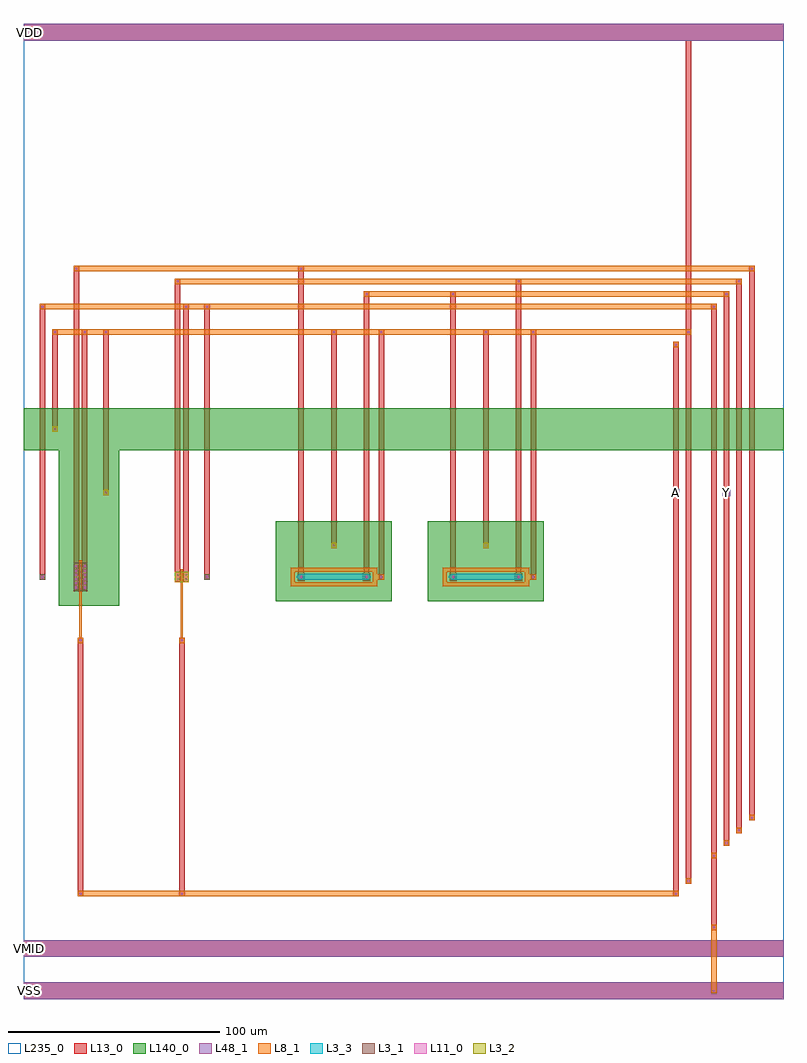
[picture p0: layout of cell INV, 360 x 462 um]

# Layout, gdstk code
import gdstk
lib = gdstk.Library(unit=1e-6, precision=1e-09)
def R(c, l, rs):  # rectangles x0, y0, x1, y1
    for r in rs: c.add(gdstk.rectangle(r[:2], r[2:], *l))
def A(c, l, x, y, w, h, nx, ny, dx, dy):  # array of equal rectangles
    R(c, l, [(x+i*dx, y+j*dy, x+i*dx+w, y+j*dy+h) for i in range(nx) for j in range(ny)])
def P(c, l, *ps):  # polygons
    for p in ps: c.add(gdstk.Polygon(p, *l))
L3_1 = (3, 1)
L3_2 = (3, 2)
L3_3 = (3, 3)
L8_1 = (8, 1)
L11_0 = (11, 0)
L13_0 = (13, 0)
L48_1 = (48, 1)
L140_0 = (140, 0)
L235_0 = (235, 0)

fet_p__inv = lib.new_cell('fet_p__INV')
R(fet_p__inv, L3_1, [(-3.3,-6.75,3.3,6.75)])
A(fet_p__inv, L11_0, -2.5, -5.5, 1, 1, 1, 6, 0, 2)
A(fet_p__inv, L11_0, 1.5, -5.5, 1, 1, 1, 6, 0, 2)
R(fet_p__inv, L13_0, [(-3.3,-6.3,-0.7,6.3), (0.7,-6.3,3.3,6.3)])
fet_p__inv.add(gdstk.FlexPath([(0,-7.95),(0,7.95)], 1, ends="flush", simple_path=True, layer=8, datatype=1))  # L8_1

cont_g__inv = lib.new_cell('cont_g__INV')
R(cont_g__inv, L8_1, [(-1.3,-1.3,1.3,1.3)])
R(cont_g__inv, L11_0, [(-0.5,-0.5,0.5,0.5)])
R(cont_g__inv, L13_0, [(-1.3,-1.3,1.3,1.3)])

cont_n__inv = lib.new_cell('cont_n__INV')
R(cont_n__inv, L3_2, [(-1.3,-1.3,1.3,1.3)])
R(cont_n__inv, L11_0, [(-0.5,-0.5,0.5,0.5)])
R(cont_n__inv, L13_0, [(-1.3,-1.3,1.3,1.3)])

fet_n__inv = lib.new_cell('fet_n__INV')
R(fet_n__inv, L3_2, [(-3.3,-2.5,3.3,2.5)])
R(fet_n__inv, L11_0, [(-2.5,-1.5,-1.5,-0.5), (1.5,-1.5,2.5,-0.5), (-2.5,0.5,-1.5,1.5), (1.5,0.5,2.5,1.5)])
R(fet_n__inv, L13_0, [(-3.3,-2.3,-0.7,2.3), (0.7,-2.3,3.3,2.3)])
fet_n__inv.add(gdstk.FlexPath([(0,-3.7),(0,3.7)], 1, ends="flush", simple_path=True, layer=8, datatype=1))  # L8_1

cont_p__inv = lib.new_cell('cont_p__INV')
R(cont_p__inv, L3_1, [(-1.3,-1.3,1.3,1.3)])
R(cont_p__inv, L11_0, [(-0.5,-0.5,0.5,0.5)])
R(cont_p__inv, L13_0, [(-1.3,-1.3,1.3,1.3)])

res_diff__inv = lib.new_cell('res_diff__INV')
P(res_diff__inv, L3_3, [(-16.5,-1.4),(-17.5,-0.4),(-17.5,0.4),(-16.5,1.4),(16.5,1.4),(17.5,0.4),(17.5,-0.4),(16.5,-1.4)])
P(res_diff__inv, L8_1, [(-20.5,-4.4),(-20.5,2.4),(-18.5,2.4),(-18.5,-2.4),(18.5,-2.4),(18.5,2.4),(-20.5,2.4),(-20.5,4.4),(20.5,4.4),(20.5,-4.4)])
R(res_diff__inv, L11_0, [(-16,-0.5,-15,0.5), (15,-0.5,16,0.5)])
R(res_diff__inv, L13_0, [(-17.2,-1.7,-13.8,1.7), (13.8,-1.7,17.2,1.7)])

inv = lib.new_cell('INV')
R(inv, L8_1, [(325.7,2.7,328.3,35.3), (25.7,48.7,310.3,51.3), (26.5,169.5,27.5,200.5), (74.5,169.5,75.5,200.5), (166.2,198.7,170.8,201.3), (238.2,198.7,242.8,201.3), (13.7,314.7,316.3,317.3), (7.7,326.7,328.3,329.3), (161.2,332.7,334.3,335.3), (71.7,338.7,340.3,341.3), (23.7,344.7,346.3,347.3)])
R(inv, L13_0, [(0,0,360,8), (0,20,360,28), (325.7,32.7,328.3,69.3), (25.7,48.7,28.3,171.3), (73.7,48.7,76.3,171.3), (307.7,48.7,310.3,311.3), (313.7,54.7,316.3,317.3), (325.7,66.7,328.3,329.3), (331.7,72.7,334.3,335.3), (337.7,78.7,340.3,341.3), (343.7,84.7,346.3,347.3), (7.7,198.7,10.3,329.3), (23.7,198.7,26.3,347.3), (27.7,198.7,30.3,317.3), (71.7,198.7,74.3,341.3), (75.7,198.7,78.3,329.3), (85.7,198.7,88.3,329.3), (130.2,198.7,132.8,347.3), (161.2,198.7,163.8,335.3), (168.2,198.7,170.8,317.3), (202.2,198.7,204.8,335.3), (233.2,198.7,235.8,341.3), (240.2,198.7,242.8,317.3), (145.7,213.7,148.3,317.3), (217.7,213.7,220.3,317.3), (307.3,238.3,310.7,241.7), (331.3,238.3,334.7,241.7), (37.7,238.7,40.3,317.3), (13.7,268.7,16.3,317.3), (313.7,314.7,316.3,459.3), (0,454,360,462)])
R(inv, L48_1, [(0,0,360,8), (0,20,360,28), (307.3,238.3,310.7,241.7), (331.3,238.3,334.7,241.7), (0,454,360,462)])
R(inv, L140_0, [(16.7,186.25,45.3,280), (119.5,188.6,174.5,226.4), (191.5,188.6,246.5,226.4), (0,260,360,280)])
R(inv, L235_0, [(0,0,360,462)])
inv.add(gdstk.Reference(fet_p__inv, (27,200)))
inv.add(gdstk.Reference(cont_g__inv, (27,170)))
inv.add(gdstk.Reference(cont_n__inv, (39,240)))
inv.add(gdstk.Reference(fet_n__inv, (75,200)))
inv.add(gdstk.Reference(cont_g__inv, (75,170)))
inv.add(gdstk.Reference(cont_p__inv, (87,200)))
inv.add(gdstk.Reference(res_diff__inv, (147,200)))
inv.add(gdstk.Reference(cont_n__inv, (147,215)))
inv.add(gdstk.Reference(cont_g__inv, (169.5,200)))
inv.add(gdstk.Reference(res_diff__inv, (219,200)))
inv.add(gdstk.Reference(cont_n__inv, (219,215)))
inv.add(gdstk.Reference(cont_g__inv, (241.5,200)))
inv.add(gdstk.Reference(cont_n__inv, (15,270)))
inv.add(gdstk.Reference(cont_p__inv, (9,200)))
inv.add(gdstk.Reference(cont_g__inv, (27,50)))
inv.add(gdstk.Reference(cont_g__inv, (75,50)))
inv.add(gdstk.Reference(cont_g__inv, (309,50)))
inv.add(gdstk.Reference(cont_g__inv, (309,310)))
inv.add(gdstk.Reference(cont_g__inv, (315,56)))
inv.add(gdstk.Reference(cont_g__inv, (29,316)))
inv.add(gdstk.Reference(cont_g__inv, (39,316)))
inv.add(gdstk.Reference(cont_g__inv, (147,316)))
inv.add(gdstk.Reference(cont_g__inv, (169.5,316)))
inv.add(gdstk.Reference(cont_g__inv, (219,316)))
inv.add(gdstk.Reference(cont_g__inv, (241.5,316)))
inv.add(gdstk.Reference(cont_g__inv, (15,316)))
inv.add(gdstk.Reference(cont_g__inv, (315,316)))
inv.add(gdstk.Reference(cont_g__inv, (327,68)))
inv.add(gdstk.Reference(cont_g__inv, (77,328)))
inv.add(gdstk.Reference(cont_g__inv, (87,328)))
inv.add(gdstk.Reference(cont_g__inv, (9,328)))
inv.add(gdstk.Reference(cont_g__inv, (327,328)))
inv.add(gdstk.Reference(cont_g__inv, (327,34)))
inv.add(gdstk.Reference(cont_g__inv, (327,4)))
inv.add(gdstk.Reference(cont_g__inv, (333,74)))
inv.add(gdstk.Reference(cont_g__inv, (162.5,334)))
inv.add(gdstk.Reference(cont_g__inv, (203.5,334)))
inv.add(gdstk.Reference(cont_g__inv, (333,334)))
inv.add(gdstk.Reference(cont_g__inv, (339,80)))
inv.add(gdstk.Reference(cont_g__inv, (73,340)))
inv.add(gdstk.Reference(cont_g__inv, (234.5,340)))
inv.add(gdstk.Reference(cont_g__inv, (339,340)))
inv.add(gdstk.Reference(cont_g__inv, (345,86)))
inv.add(gdstk.Reference(cont_g__inv, (25,346)))
inv.add(gdstk.Reference(cont_g__inv, (131.5,346)))
inv.add(gdstk.Reference(cont_g__inv, (345,346)))
inv.add(gdstk.Label('A', (309,240), layer=48, texttype=0))
inv.add(gdstk.Label('Y', (333,240), layer=48, texttype=0))
inv.add(gdstk.Label('VDD', (3,458), layer=48, texttype=0))
inv.add(gdstk.Label('VMID', (3,24), layer=48, texttype=0))
inv.add(gdstk.Label('VSS', (3,4), layer=48, texttype=0))

lib.write_gds('INV.gds')
